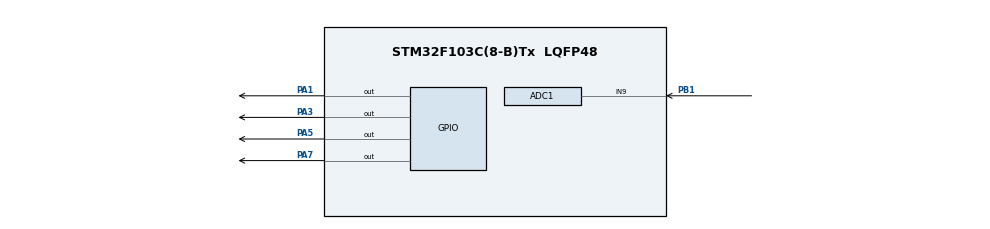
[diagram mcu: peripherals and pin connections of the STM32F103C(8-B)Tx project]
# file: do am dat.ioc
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ADC1.Channel-0\#ChannelRegularConversion=ADC_CHANNEL_9
ADC1.ContinuousConvMode=ENABLE
ADC1.NbrOfConversionFlag=1
ADC1.Rank-0\#ChannelRegularConversion=1
ADC1.SamplingTime-0\#ChannelRegularConversion=ADC_SAMPLETIME_1CYCLE_5
ADC1.master=1
Mcu.Family=STM32F1
Mcu.Name=STM32F103C(8-B)Tx
Mcu.Package=LQFP48
NVIC.PriorityGroup=NVIC_PRIORITYGROUP_4
PA1.Signal=GPIO_Output
PA3.Signal=GPIO_Output
PA5.Signal=GPIO_Output
PA7.Signal=GPIO_Output
PB1.Signal=ADCx_IN9
ProjectManager.HeapSize=0x200
ProjectManager.StackSize=0x400
ProjectManager.TargetToolchain=STM32CubeIDE
RCC.APB1Freq_Value=8000000
RCC.APB2Freq_Value=8000000
SH.ADCx_IN9.0=ADC1_IN9,IN9
VP_SYS_VS_ND.Mode=No_Debug
board=custom

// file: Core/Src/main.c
/* USER CODE BEGIN Header */
/**
  ******************************************************************************
  * @file           : main.c
  * @brief          : Main program body
  ******************************************************************************
  * @attention
  *
  * Copyright (c) 2025 STMicroelectronics.
  * All rights reserved.
  *
  * This software is licensed under terms that can be found in the LICENSE file
  * in the root directory of this software component.
  * If no LICENSE file comes with this software, it is provided AS-IS.
  *
  ******************************************************************************
  */
/* USER CODE END Header */
#include "main.h"

ADC_HandleTypeDef hadc1;

void SystemClock_Config(void);
static void MX_GPIO_Init(void);
static void MX_ADC1_Init(void);

/* USER CODE BEGIN 0 */
uint16_t readValue;
/* USER CODE END 0 */

int main(void)
{

  /* MCU Configuration--------------------------------------------------------*/

  /* Reset of all peripherals, Initializes the Flash interface and the Systick. */
  HAL_Init();

  /* Configure the system clock */
  SystemClock_Config();

  /* Initialize all configured peripherals */
  MX_GPIO_Init();
  MX_ADC1_Init();
  /* USER CODE BEGIN 2 */
  HAL_ADC_Start(&hadc1);
  /* USER CODE END 2 */

  /* Infinite loop */
  /* USER CODE BEGIN WHILE */
  while (1)
    {
  	  HAL_ADC_PollForConversion(&hadc1,1000);
  	  readValue = HAL_ADC_GetValue(&hadc1);
  	  if (readValue > 2300) {
  		  HAL_GPIO_WritePin(GPIOA, GPIO_PIN_7, 1);
  		  HAL_GPIO_WritePin(GPIOA, GPIO_PIN_5, 0);
  		  HAL_GPIO_WritePin(GPIOA, GPIO_PIN_3, 0);
  		  HAL_GPIO_WritePin(GPIOA, GPIO_PIN_1, 0);
  	  }
  	  else if (readValue > 1800 ) {
  		  HAL_GPIO_WritePin(GPIOA, GPIO_PIN_7, 0);
  		  HAL_GPIO_WritePin(GPIOA, GPIO_PIN_5, 1);
  		  HAL_GPIO_WritePin(GPIOA, GPIO_PIN_3, 0);
  		  HAL_GPIO_WritePin(GPIOA, GPIO_PIN_1, 0);
  	  }
  	  else if (readValue > 1500) {
  		  HAL_GPIO_WritePin(GPIOA, GPIO_PIN_7, 0);
  		  HAL_GPIO_WritePin(GPIOA, GPIO_PIN_5, 0);
  		  HAL_GPIO_WritePin(GPIOA, GPIO_PIN_3, 1);
  		  HAL_GPIO_WritePin(GPIOA, GPIO_PIN_1, 0);
  	  }
  	  else {
  		  HAL_GPIO_WritePin(GPIOA, GPIO_PIN_7, 0);
  		  HAL_GPIO_WritePin(GPIOA, GPIO_PIN_5, 0);
  		  HAL_GPIO_WritePin(GPIOA, GPIO_PIN_3, 0);
  		  HAL_GPIO_WritePin(GPIOA, GPIO_PIN_1, 1);
  	  }
  	  HAL_Delay(500);
    /* USER CODE END WHILE */

  }
}

void SystemClock_Config(void)
{
  RCC_OscInitTypeDef RCC_OscInitStruct = {0};
  RCC_ClkInitTypeDef RCC_ClkInitStruct = {0};
  RCC_PeriphCLKInitTypeDef PeriphClkInit = {0};

  /** Initializes the RCC Oscillators according to the specified parameters
  * in the RCC_OscInitTypeDef structure.
  */
  RCC_OscInitStruct.OscillatorType = RCC_OSCILLATORTYPE_HSI;
  RCC_OscInitStruct.HSIState = RCC_HSI_ON;
  RCC_OscInitStruct.HSICalibrationValue = RCC_HSICALIBRATION_DEFAULT;
  RCC_OscInitStruct.PLL.PLLState = RCC_PLL_NONE;
  if (HAL_RCC_OscConfig(&RCC_OscInitStruct) != HAL_OK)
  {
    Error_Handler();
  }

  /** Initializes the CPU, AHB and APB buses clocks
  */
  RCC_ClkInitStruct.ClockType = RCC_CLOCKTYPE_HCLK|RCC_CLOCKTYPE_SYSCLK
                              |RCC_CLOCKTYPE_PCLK1|RCC_CLOCKTYPE_PCLK2;
  RCC_ClkInitStruct.SYSCLKSource = RCC_SYSCLKSOURCE_HSI;
  RCC_ClkInitStruct.AHBCLKDivider = RCC_SYSCLK_DIV1;
  RCC_ClkInitStruct.APB1CLKDivider = RCC_HCLK_DIV1;
  RCC_ClkInitStruct.APB2CLKDivider = RCC_HCLK_DIV1;

  if (HAL_RCC_ClockConfig(&RCC_ClkInitStruct, FLASH_LATENCY_0) != HAL_OK)
  {
    Error_Handler();
  }
  PeriphClkInit.PeriphClockSelection = RCC_PERIPHCLK_ADC;
  PeriphClkInit.AdcClockSelection = RCC_ADCPCLK2_DIV2;
  if (HAL_RCCEx_PeriphCLKConfig(&PeriphClkInit) != HAL_OK)
  {
    Error_Handler();
  }
}

static void MX_ADC1_Init(void)
{

  ADC_ChannelConfTypeDef sConfig = {0};

  /** Common config
  */
  hadc1.Instance = ADC1;
  hadc1.Init.ScanConvMode = ADC_SCAN_DISABLE;
  hadc1.Init.ContinuousConvMode = ENABLE;
  hadc1.Init.DiscontinuousConvMode = DISABLE;
  hadc1.Init.ExternalTrigConv = ADC_SOFTWARE_START;
  hadc1.Init.DataAlign = ADC_DATAALIGN_RIGHT;
  hadc1.Init.NbrOfConversion = 1;
  if (HAL_ADC_Init(&hadc1) != HAL_OK)
  {
    Error_Handler();
  }

  /** Configure Regular Channel
  */
  sConfig.Channel = ADC_CHANNEL_9;
  sConfig.Rank = ADC_REGULAR_RANK_1;
  sConfig.SamplingTime = ADC_SAMPLETIME_1CYCLE_5;
  if (HAL_ADC_ConfigChannel(&hadc1, &sConfig) != HAL_OK)
  {
    Error_Handler();
  }

}

static void MX_GPIO_Init(void)
{
  GPIO_InitTypeDef GPIO_InitStruct = {0};

  /* GPIO Ports Clock Enable */
  __HAL_RCC_GPIOA_CLK_ENABLE();
  __HAL_RCC_GPIOB_CLK_ENABLE();

  /*Configure GPIO pin Output Level */
  HAL_GPIO_WritePin(GPIOA, GPIO_PIN_1|GPIO_PIN_3|GPIO_PIN_5|GPIO_PIN_7, GPIO_PIN_RESET);

  /*Configure GPIO pins : PA1 PA3 PA5 PA7 */
  GPIO_InitStruct.Pin = GPIO_PIN_1|GPIO_PIN_3|GPIO_PIN_5|GPIO_PIN_7;
  GPIO_InitStruct.Mode = GPIO_MODE_OUTPUT_PP;
  GPIO_InitStruct.Pull = GPIO_NOPULL;
  GPIO_InitStruct.Speed = GPIO_SPEED_FREQ_LOW;
  HAL_GPIO_Init(GPIOA, &GPIO_InitStruct);

}

void Error_Handler(void)
{
  __disable_irq();
  while (1)
  {
  }
}
